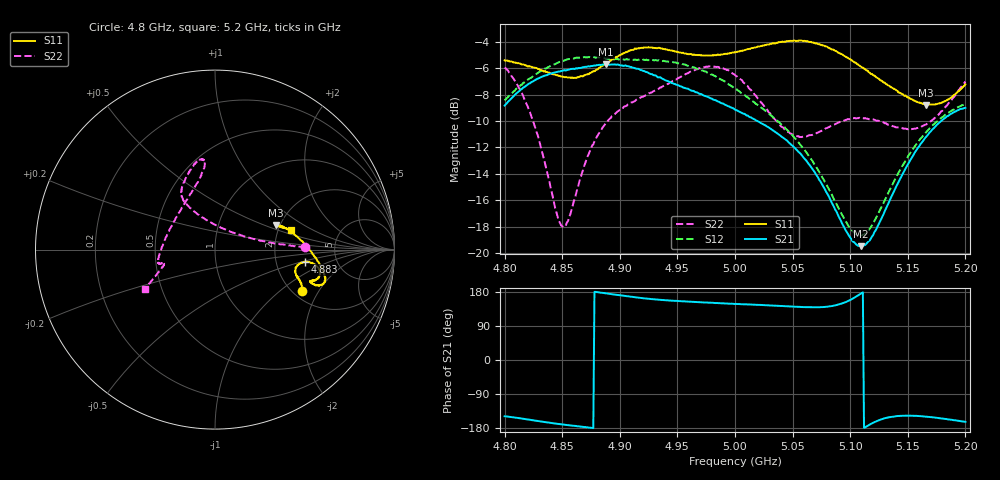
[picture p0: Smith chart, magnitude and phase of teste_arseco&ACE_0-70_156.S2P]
! Network Analyzer HP8722D
! Hewlett-Packard
! Data name: Linha & Wilkinson
! Saver's name: Rodrigo Anjos
! Comments: Teste da utilização de aquisição
! continua pelo VNA HP8722D
! Time and date: 8/5/2025 14:03
!  Frequency  S11  S21  S12  S22
# HZ  S  MA R 50
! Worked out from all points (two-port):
!   401 points, 4.8 GHz to 5.2 GHz, reference 50 ohm
!   highest |S21| = -5.70 dB at 4.888 GHz (marker M1); lowest = -19.5 dB at 5.109 GHz (marker M2)
!   |S21| within 3 dB of the highest: 4.801 GHz to 4.99 GHz (188.8 MHz wide, 3.86 % of centre)
!   lowest |S11| = -8.8 dB at 5.166 GHz (marker M3), VSWR 2.14, Z = 94.7 + j29.9 ohm
!   |S11| at or under -10 dB: nowhere
!   |S22| runs from -18.0 to -5.9 dB; largest |S21 - S12| = 1.1
!   S11 on the Smith chart (normalised r, x): 4.8 GHz: 2.23, -1.45; 4.883 GHz: 2.92, -0.53; 5.2 GHz: 2.33, +0.64
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4.8e9  0.5369 -25.5  0.3616 -148.4  0.3784 11.0  0.5043 1.5
4.813e9  0.5226 -22.3  0.4115 -153.8  0.4276 9.1  0.4187 3.2
4.824e9  0.5046 -20.4  0.4452 -158.7  0.4648 7.3  0.3215 6.5
4.849e9  0.4658 -16.2  0.4893 -169.5  0.5316 3.4  0.1273 57.1
4.855e9  0.4615 -14.6  0.494 -171.9  0.542 2.5  0.132 84.1
4.867e9  0.4677 -11.0  0.5034 -176.0  0.5492 0.9  0.1999 112.5
4.883e9  0.5041 -7.7  0.5153 177.8  0.5476 -0.5  0.289 121.9
4.888e9  0.5209 -7.6  0.5185 175.8  0.5451 -0.5  0.3114 122.2
4.911e9  0.5879 -10.5  0.5036 166.4  0.541 0.0  0.3722 120.1
4.934e9  0.5989 -15.3  0.4626 158.9  0.5374 -1.0  0.4199 113.6
4.976e9  0.5602 -18.4  0.3911 151.5  0.4819 -4.9  0.5069 99.7
5e9  0.5761 -19.3  0.3493 147.8  0.4224 -4.7  0.4723 97.0
5.018e9  0.6009 -19.2  0.3184 145.8  0.3674 -2.3  0.3947 103.8
5.045e9  0.6342 -17.3  0.2668 141.6  0.2934 3.4  0.289 132.5
5.067e9  0.6273 -13.3  0.2087 139.1  0.2239 9.5  0.2799 164.4
5.098e9  0.5485 -3.0  0.1182 155.4  0.1276 36.4  0.3217 -170.4
5.109e9  0.509 2.3  0.1061 174.7  0.1166 57.9  0.3239 -166.9
5.118e9  0.477 6.6  0.1137 -168.6  0.1254 75.7  0.3203 -166.2
5.134e9  0.4295 14.4  0.1569 -151.0  0.1721 94.7  0.3063 -165.5
5.166e9  0.3639 22.1  0.2756 -149.5  0.287 102.9  0.3068 -161.5
5.182e9  0.3757 20.2  0.3242 -155.2  0.3327 103.0  0.3544 -156.6
5.2e9  0.4353 14.7  0.3546 -163.2  0.3669 103.3  0.4461 -150.4
